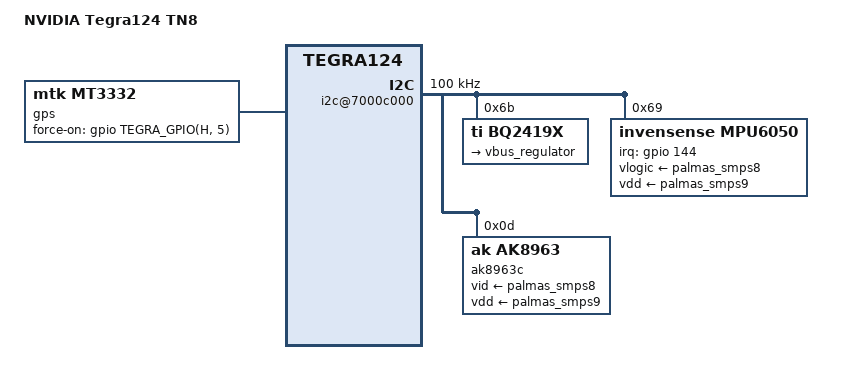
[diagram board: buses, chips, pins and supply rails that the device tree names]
/dts-v1/;

#include "tegra124.dtsi"
#include "tegra124-platforms/tegra124-tn8-io.dtsi"
#include "tegra124-platforms/tegra124-tn8-emc.dtsi"
#include "tegra124-platforms/tegra124-tn8-e1769-pmic.dtsi"
#include "tegra124-platforms/tegra124-tn8-e1769-fixed.dtsi"
#include "tegra124-platforms/tegra124-e1780-gpio-default.dtsi"
#include "tegra124-platforms/tegra124-e1780-pinmux.dtsi"
#include "tegra124-platforms/tegra124-e1780-keys.dtsi"

/ {
	model = "NVIDIA Tegra124 TN8";
	compatible = "nvidia,tn8", "nvidia,tegra124";
	nvidia-boardids = "1780:1100:3:A:7","1769:1000:0:A:4";
	#address-cells = <1>;
	#size-cells = <1>;

	chosen {
		bootargs = "tegraid=40.0.0.00.00 vmalloc=256M video=tegrafb console=ttyS0,115200n8 earlyprintk";
		linux,initrd-start = <0x85000000>;
		linux,initrd-end = <0x851bc400>;
	};

	i2c@7000c000 {
		status = "okay";
		clock-frequency = <100000>;

		bq2419x: bq2419x@6b {
			compatible = "ti,bq2419x";
			reg = <0x6b>;

			vbus {
				regulator-name = "vbus_regulator";
				otg-iusb-gpio = <&gpio TEGRA_GPIO(I, 4) 0>;
				consumers {
					c1 {
						regulator-consumer-supply = "usb_vbus";
						regulator-consumer-device = "tegra-ehci.0";
					};

					c2 {
						regulator-consumer-supply = "usb_vbus";
						regulator-consumer-device = "tegra-otg";
					};
				};
			};
		};

		mpu6050@69 {
			compatible = "invensense,mpu6050";
			reg = <0x69>;
			interrupt-parent = <&gpio>;
			interrupts = <144 0x01>;
			invensense,int_config = <0x10>;
			invensense,level_shifter = <0>;
			invensense,orientation = [01 00 00 00 01 00 00 00 01];
			invensense,sec_slave_type = <0>;
			invensense,key = [4e cc 7e eb f6 1e 35 22
					  00 34 0d 65 32 e9 94 89];
			vlogic-supply = <&palmas_smps8>;
			vdd-supply = <&palmas_smps9>;
		};

		ak8963c@0d {
			compatible = "ak,ak8963";
			reg = <0x0d>;
			orientation = [00 01 00 01 00 00 00 00 ff];
			config = "mpu";
			vid-supply = <&palmas_smps8>;
			vdd-supply = <&palmas_smps9>;
		};
	};

	gps {
		compatible = "mtk,mt3332";
		force-on-gpios = <&gpio TEGRA_GPIO(H, 5) GPIO_ACTIVE_HIGH>;
	};
};

